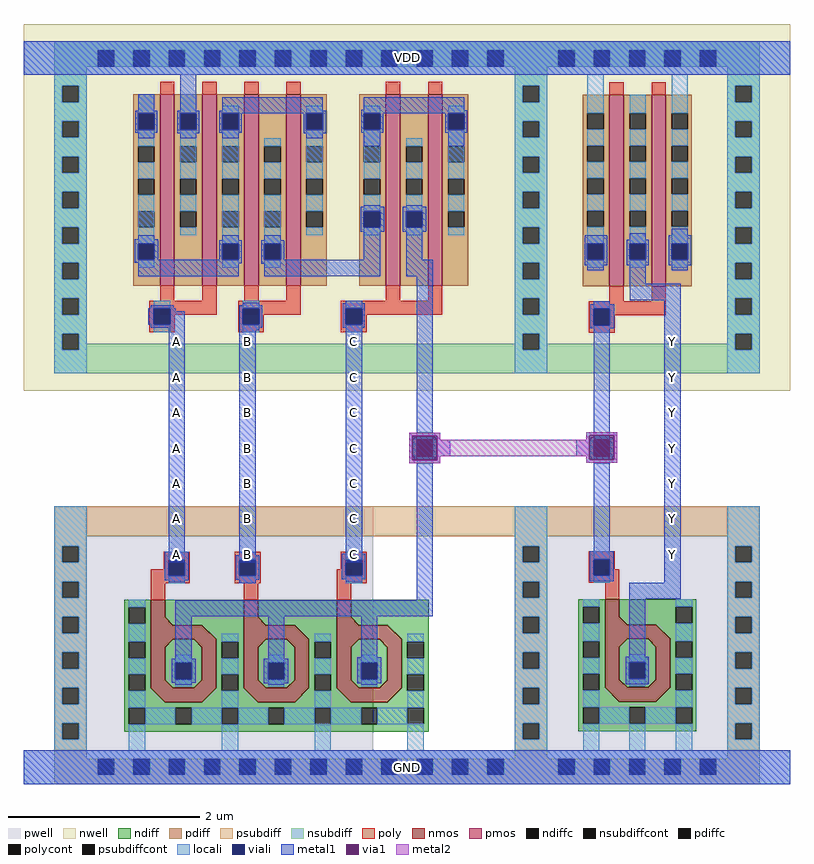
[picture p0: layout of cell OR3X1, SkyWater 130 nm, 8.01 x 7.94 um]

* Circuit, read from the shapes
.subckt OR3X1 Y A B C VDD GND
XM1 GND A n1 GND sky130_fd_pr__nfet_01v8 w=2.56 l=0.1458
XM2 GND B n1 GND sky130_fd_pr__nfet_01v8 w=2.56 l=0.1467
XM3 GND C n1 GND sky130_fd_pr__nfet_01v8 w=2.56 l=0.1466
XM4 GND n1 Y GND sky130_fd_pr__nfet_01v8 w=2.56 l=0.1515
XM5 VDD A n2 VDD sky130_fd_pr__pfet_01v8 w=2 l=0.15 m=2
XM6 n3 B n2 VDD sky130_fd_pr__pfet_01v8 w=2 l=0.15 m=2
XM7 n1 C n3 VDD sky130_fd_pr__pfet_01v8 w=2 l=0.15 m=2
XM8 Y n1 VDD VDD sky130_fd_pr__pfet_01v8 w=2 l=0.15 m=2
.ends

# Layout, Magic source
magic
tech sky130A
magscale 1 2
<< nwell >>
rect 0 822 1602 1588
<< pwell >>
rect 64 0 1538 23
<< psubdiff >>
rect 64 0 1538 23
<< nsubdiff >>
rect 64 1550 1538 1552
<< locali >>
rect 0 1482 1602 1552
rect 0 0 1602 70
<< metal1 >>
rect 0 1482 1602 1552
rect 303 907 337 941
rect 451 907 485 941
rect 673 907 707 941
rect 1339 907 1373 941
rect 303 833 337 867
rect 451 833 485 867
rect 673 833 707 867
rect 1339 833 1373 867
rect 303 759 337 793
rect 451 759 485 793
rect 673 759 707 793
rect 1339 759 1373 793
rect 303 685 337 719
rect 451 685 485 719
rect 673 685 707 719
rect 1339 685 1373 719
rect 303 611 337 645
rect 451 611 485 645
rect 673 611 707 645
rect 1339 611 1373 645
rect 303 537 337 571
rect 451 537 485 571
rect 673 537 707 571
rect 1339 537 1373 571
rect 303 463 337 497
rect 451 463 485 497
rect 673 463 707 497
rect 1339 463 1373 497
rect 0 0 1602 70
use or3x1_pcell  or3x1_pcell_0
transform 1 0 394 0 1 36
box -383 -34 1197 1550
<< labels >>
rlabel metal1 1339 463 1373 497 1 Y
port 1 nsew signal output
rlabel metal1 1339 537 1373 571 1 Y
port 1 nsew signal output
rlabel metal1 1339 611 1373 645 1 Y
port 1 nsew signal output
rlabel metal1 1339 685 1373 719 1 Y
port 1 nsew signal output
rlabel metal1 1339 759 1373 793 1 Y
port 1 nsew signal output
rlabel metal1 1339 833 1373 867 1 Y
port 1 nsew signal output
rlabel metal1 1339 907 1373 941 1 Y
port 1 nsew signal output
rlabel metal1 303 907 337 941 1 A
port 2 nsew signal input
rlabel metal1 303 833 337 867 1 A
port 2 nsew signal input
rlabel metal1 303 759 337 793 1 A
port 2 nsew signal input
rlabel metal1 303 685 337 719 1 A
port 2 nsew signal input
rlabel metal1 303 611 337 645 1 A
port 2 nsew signal input
rlabel metal1 303 537 337 571 1 A
port 2 nsew signal input
rlabel metal1 303 463 337 497 1 A
port 2 nsew signal input
rlabel metal1 451 907 485 941 1 B
port 3 nsew signal input
rlabel metal1 451 833 485 867 1 B
port 3 nsew signal input
rlabel metal1 451 759 485 793 1 B
port 3 nsew signal input
rlabel metal1 451 685 485 719 1 B
port 3 nsew signal input
rlabel metal1 451 611 485 645 1 B
port 3 nsew signal input
rlabel metal1 451 537 485 571 1 B
port 3 nsew signal input
rlabel metal1 451 463 485 497 1 B
port 3 nsew signal input
rlabel metal1 673 907 707 941 1 C
port 4 nsew signal output
rlabel metal1 673 833 707 867 1 C
port 4 nsew signal input
rlabel metal1 673 759 707 793 1 C
port 4 nsew signal input
rlabel metal1 673 685 707 719 1 C
port 4 nsew signal input
rlabel metal1 673 611 707 645 1 C
port 4 nsew signal input
rlabel metal1 673 537 707 571 1 C
port 4 nsew signal input
rlabel metal1 673 463 707 497 1 C
port 4 nsew signal input
rlabel metal1 0 1482 1602 1552 1 VDD
port 5 nsew power bidirectional abutment
rlabel metal1 0 0 1602 70 1 GND
port 6 nsew power bidirectional abutment
<< properties >>
string FIXED_BBOX 0 0 1602 1552
string LEFclass CORE
string LEFsite unitrh
string LEFsymmetry X Y
<< end >>

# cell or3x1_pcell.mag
magic
tech sky130A
magscale 1 2
<< metal1 >>
rect 412 692 476 698
rect 412 640 418 692
rect 470 640 476 692
rect 412 634 476 640
rect 782 693 846 699
rect 782 641 788 693
rect 840 641 846 693
rect 782 635 846 641
<< via1 >>
rect 418 640 470 692
rect 788 641 840 693
<< metal2 >>
rect 412 692 476 698
rect 412 640 418 692
rect 470 683 476 692
rect 782 693 846 699
rect 782 683 788 693
rect 470 649 788 683
rect 470 640 476 649
rect 412 634 476 640
rect 782 641 788 649
rect 840 641 846 693
rect 782 635 846 641
use invx1_pcell  invx1_pcell_0
transform 1 0 666 0 1 0
box -87 -34 531 1550
use li1_M1_contact  li1_M1_contact_0
transform -1 0 444 0 -1 666
box -53 -33 29 33
use li1_M1_contact  li1_M1_contact_1
transform 1 0 814 0 1 666
box -53 -33 29 33
use nor3x1_pcell  nor3x1_pcell_0
transform 1 0 -296 0 1 0
box -87 -34 1049 1550
<< end >>

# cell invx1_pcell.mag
magic
tech sky130A
magscale 1 2
<< nwell >>
rect -87 786 531 1550
<< pwell >>
rect -34 -34 478 544
<< pdiffc >>
rect 118 1059 152 1093
rect 206 1059 240 1093
rect 294 1059 328 1093
<< psubdiff >>
rect 34 482 410 544
rect 34 -17 57 17
rect 91 -17 131 17
rect 165 -17 205 17
rect 239 -17 279 17
rect 313 -17 353 17
rect 387 -17 410 17
rect 34 -34 410 -17
<< nsubdiff >>
rect 34 1497 410 1514
rect 34 1463 57 1497
rect 91 1463 131 1497
rect 165 1463 205 1497
rect 239 1463 279 1497
rect 313 1463 353 1497
rect 387 1463 410 1497
rect 34 822 410 884
<< psubdiffcont >>
rect 57 -17 91 17
rect 131 -17 165 17
rect 205 -17 239 17
rect 279 -17 313 17
rect 353 -17 387 17
<< nsubdiffcont >>
rect 57 1463 91 1497
rect 131 1463 165 1497
rect 205 1463 239 1497
rect 279 1463 313 1497
rect 353 1463 387 1497
<< poly >>
rect 155 381 185 413
<< locali >>
rect -34 1497 478 1514
rect -34 1463 57 1497
rect 91 1463 131 1497
rect 165 1463 205 1497
rect 239 1463 279 1497
rect 313 1463 353 1497
rect 387 1463 478 1497
rect -34 1446 478 1463
rect 118 1093 152 1117
rect 118 1043 152 1059
rect 206 1093 240 1117
rect 206 1043 240 1059
rect 294 1093 328 1117
rect 294 1043 328 1059
rect 109 34 143 84
rect 205 34 239 90
rect 303 34 337 90
rect -34 17 466 34
rect -34 -17 57 17
rect 91 -17 131 17
rect 165 -17 205 17
rect 239 -17 279 17
rect 313 -17 353 17
rect 387 -17 466 17
rect -34 -34 466 -17
<< viali >>
rect 57 1463 91 1497
rect 131 1463 165 1497
rect 205 1463 239 1497
rect 279 1463 313 1497
rect 353 1463 387 1497
rect 118 1059 152 1093
rect 206 1059 240 1093
rect 294 1059 328 1093
rect 131 923 165 957
rect 131 400 165 434
rect 205 184 239 218
rect 57 -17 91 17
rect 131 -17 165 17
rect 205 -17 239 17
rect 279 -17 313 17
rect 353 -17 387 17
<< metal1 >>
rect -34 1497 478 1514
rect -34 1463 57 1497
rect 91 1463 131 1497
rect 165 1463 205 1497
rect 239 1463 279 1497
rect 313 1463 353 1497
rect 387 1463 478 1497
rect -34 1446 478 1463
rect 112 1093 159 1111
rect 206 1101 240 1115
rect 294 1111 328 1124
rect 112 1059 118 1093
rect 152 1059 159 1093
rect 112 1048 159 1059
rect 200 1093 246 1101
rect 200 1059 206 1093
rect 240 1059 246 1093
rect 200 1048 246 1059
rect 288 1093 335 1111
rect 288 1059 294 1093
rect 328 1059 335 1093
rect 288 1048 335 1059
rect 118 1037 152 1048
rect 206 1009 240 1048
rect 294 1037 328 1048
rect 206 975 313 1009
rect 131 966 165 973
rect 124 957 174 966
rect 124 923 131 957
rect 165 923 174 957
rect 124 916 174 923
rect 131 450 165 916
rect 123 434 173 450
rect 123 400 131 434
rect 165 400 173 434
rect 123 388 173 400
rect 279 385 313 975
rect 205 351 313 385
rect 205 230 239 351
rect 198 218 246 230
rect 198 184 205 218
rect 239 184 246 218
rect 198 172 246 184
rect -34 17 478 34
rect -34 -17 57 17
rect 91 -17 131 17
rect 165 -17 205 17
rect 239 -17 279 17
rect 313 -17 353 17
rect 387 -17 478 17
rect -34 -34 478 -17
use diff_ring_side  diff_ring_side_0
transform 1 0 444 0 1 0
box -87 -34 87 1550
use diff_ring_side  diff_ring_side_1
transform 1 0 0 0 1 0
box -87 -34 87 1550
use nmos_top  nmos_top_0
transform -1 0 345 0 1 74
box 0 0 246 308
use pmos2  pmos2_0
transform 1 0 20 0 1 1404
box 52 -461 352 42
use poly_li1_contact  poly_li1_contact_0
transform 0 1 149 -1 0 941
box -32 -28 34 26
use poly_li1_contact  poly_li1_contact_1
transform 0 -1 147 1 0 416
box -32 -28 34 26
<< end >>

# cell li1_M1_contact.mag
magic
tech sky130A
magscale 1 2
<< locali >>
rect -17 17 17 33
rect -17 -33 17 -17
<< viali >>
rect -17 -17 17 17
<< metal1 >>
rect -23 17 23 23
rect -53 -17 -17 17
rect 17 -17 29 17
rect -23 -23 23 -17
<< end >>

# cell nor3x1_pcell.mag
magic
tech sky130A
magscale 1 2
<< nwell >>
rect 87 786 953 1550
<< pwell >>
rect 34 34 632 544
rect 34 -34 928 34
<< pdiffc >>
rect 141 1331 175 1365
rect 229 1331 263 1365
rect 317 1331 351 1365
rect 493 1331 527 1365
rect 613 1331 647 1365
rect 789 1331 823 1365
rect 141 1059 175 1093
rect 317 1059 351 1093
rect 405 1059 439 1093
<< psubdiff >>
rect 34 482 928 544
rect 34 -17 57 17
rect 91 -17 131 17
rect 165 -17 205 17
rect 239 -17 279 17
rect 313 -17 353 17
rect 387 -17 427 17
rect 461 -17 501 17
rect 535 -17 575 17
rect 609 -17 649 17
rect 683 -17 723 17
rect 757 -17 797 17
rect 831 -17 871 17
rect 905 -17 928 17
rect 34 -34 928 -17
<< nsubdiff >>
rect 34 1497 928 1514
rect 34 1463 57 1497
rect 91 1463 131 1497
rect 165 1463 205 1497
rect 239 1463 279 1497
rect 313 1463 353 1497
rect 387 1463 427 1497
rect 461 1463 501 1497
rect 535 1463 575 1497
rect 609 1463 649 1497
rect 683 1463 723 1497
rect 757 1463 797 1497
rect 831 1463 871 1497
rect 905 1463 928 1497
rect 34 822 928 884
<< psubdiffcont >>
rect 57 -17 91 17
rect 131 -17 165 17
rect 205 -17 239 17
rect 279 -17 313 17
rect 353 -17 387 17
rect 427 -17 461 17
rect 501 -17 535 17
rect 575 -17 609 17
rect 649 -17 683 17
rect 723 -17 757 17
rect 797 -17 831 17
rect 871 -17 905 17
<< nsubdiffcont >>
rect 57 1463 91 1497
rect 131 1463 165 1497
rect 205 1463 239 1497
rect 279 1463 313 1497
rect 353 1463 387 1497
rect 427 1463 461 1497
rect 501 1463 535 1497
rect 575 1463 609 1497
rect 649 1463 683 1497
rect 723 1463 757 1497
rect 797 1463 831 1497
rect 871 1463 905 1497
<< poly >>
rect 619 944 659 974
rect 168 375 198 413
rect 362 382 392 383
rect 556 382 586 413
<< locali >>
rect -24 1497 939 1514
rect -24 1463 57 1497
rect 91 1463 131 1497
rect 165 1463 205 1497
rect 239 1463 279 1497
rect 313 1463 353 1497
rect 387 1463 427 1497
rect 461 1463 501 1497
rect 535 1463 575 1497
rect 609 1463 649 1497
rect 683 1463 723 1497
rect 757 1463 797 1497
rect 831 1463 871 1497
rect 905 1463 939 1497
rect -24 1446 939 1463
rect 141 1365 175 1405
rect 141 1305 175 1331
rect 229 1365 263 1405
rect 229 1229 263 1331
rect 317 1365 351 1381
rect 317 1229 351 1331
rect 493 1365 527 1381
rect 493 1229 527 1331
rect 613 1365 647 1381
rect 613 1229 647 1331
rect 789 1365 823 1381
rect 789 1229 823 1331
rect 141 1093 175 1195
rect 141 1043 175 1059
rect 317 1093 351 1195
rect 317 1043 351 1059
rect 405 1093 439 1195
rect 405 1043 439 1059
rect 122 34 156 89
rect 316 34 350 89
rect 510 34 544 90
rect 704 34 738 90
rect -34 17 931 34
rect -34 -17 57 17
rect 91 -17 131 17
rect 165 -17 205 17
rect 239 -17 279 17
rect 313 -17 353 17
rect 387 -17 427 17
rect 461 -17 501 17
rect 535 -17 575 17
rect 609 -17 649 17
rect 683 -17 723 17
rect 757 -17 797 17
rect 831 -17 871 17
rect 905 -17 931 17
rect -34 -34 931 -17
<< viali >>
rect 57 1463 91 1497
rect 131 1463 165 1497
rect 205 1463 239 1497
rect 279 1463 313 1497
rect 353 1463 387 1497
rect 427 1463 461 1497
rect 501 1463 535 1497
rect 575 1463 609 1497
rect 649 1463 683 1497
rect 723 1463 757 1497
rect 797 1463 831 1497
rect 871 1463 905 1497
rect 141 1331 175 1365
rect 229 1331 263 1365
rect 317 1331 351 1365
rect 493 1331 527 1365
rect 613 1331 647 1365
rect 789 1331 823 1365
rect 141 1059 175 1093
rect 317 1059 351 1093
rect 613 1127 647 1161
rect 701 1127 735 1161
rect 405 1059 439 1093
rect 174 924 208 958
rect 360 924 394 958
rect 575 924 609 958
rect 205 399 239 433
rect 353 399 387 433
rect 575 399 609 433
rect 219 183 253 217
rect 413 183 447 217
rect 607 183 641 217
rect 57 -17 91 17
rect 131 -17 165 17
rect 205 -17 239 17
rect 279 -17 313 17
rect 353 -17 387 17
rect 427 -17 461 17
rect 501 -17 535 17
rect 575 -17 609 17
rect 649 -17 683 17
rect 723 -17 757 17
rect 797 -17 831 17
rect 871 -17 905 17
<< metal1 >>
rect 34 1497 928 1514
rect 34 1463 57 1497
rect 91 1463 131 1497
rect 165 1463 205 1497
rect 239 1463 279 1497
rect 313 1463 353 1497
rect 387 1463 427 1497
rect 461 1463 501 1497
rect 535 1463 575 1497
rect 609 1463 649 1497
rect 683 1463 723 1497
rect 757 1463 797 1497
rect 831 1463 871 1497
rect 905 1463 928 1497
rect 34 1446 928 1463
rect 141 1371 175 1405
rect 229 1371 263 1446
rect 317 1371 527 1399
rect 613 1373 823 1399
rect 607 1372 823 1373
rect 135 1365 181 1371
rect 135 1331 141 1365
rect 175 1331 181 1365
rect 135 1325 181 1331
rect 223 1365 269 1371
rect 223 1331 229 1365
rect 263 1331 269 1365
rect 141 1313 175 1325
rect 223 1324 269 1331
rect 311 1365 534 1371
rect 311 1331 317 1365
rect 351 1331 358 1365
rect 311 1325 358 1331
rect 487 1331 493 1365
rect 527 1331 534 1365
rect 229 1313 263 1324
rect 317 1313 351 1325
rect 487 1324 534 1331
rect 607 1365 829 1372
rect 607 1331 613 1365
rect 647 1331 653 1365
rect 607 1325 653 1331
rect 783 1331 789 1365
rect 823 1331 829 1365
rect 783 1325 829 1331
rect 493 1313 527 1324
rect 613 1297 647 1325
rect 789 1297 823 1325
rect 613 1170 647 1173
rect 701 1170 735 1173
rect 606 1161 655 1170
rect 606 1127 613 1161
rect 647 1127 655 1161
rect 606 1118 655 1127
rect 694 1161 743 1170
rect 694 1127 701 1161
rect 735 1127 743 1161
rect 694 1118 743 1127
rect 141 1102 175 1111
rect 134 1093 183 1102
rect 317 1100 351 1111
rect 405 1100 439 1111
rect 134 1059 141 1093
rect 175 1059 183 1093
rect 311 1093 358 1100
rect 311 1059 317 1093
rect 351 1059 358 1093
rect 134 1053 358 1059
rect 141 1052 358 1053
rect 398 1093 446 1100
rect 398 1059 405 1093
rect 439 1059 446 1093
rect 613 1059 647 1118
rect 141 1025 351 1052
rect 398 1051 647 1059
rect 405 1025 647 1051
rect 701 1059 735 1118
rect 701 1025 757 1059
rect 360 964 394 970
rect 575 969 609 974
rect 168 958 216 964
rect 353 958 401 964
rect 162 924 174 958
rect 208 952 220 958
rect 208 924 239 952
rect 168 917 239 924
rect 205 449 239 917
rect 353 924 360 958
rect 394 924 401 958
rect 353 917 401 924
rect 569 958 615 969
rect 569 924 575 958
rect 609 924 615 958
rect 569 917 615 924
rect 353 912 394 917
rect 197 433 247 449
rect 353 442 387 912
rect 575 445 609 917
rect 197 399 205 433
rect 239 399 247 433
rect 197 390 247 399
rect 345 433 394 442
rect 345 399 353 433
rect 387 399 394 433
rect 345 391 394 399
rect 567 433 616 445
rect 567 399 575 433
rect 609 399 616 433
rect 567 392 616 399
rect 205 387 239 390
rect 353 383 387 391
rect 575 387 609 392
rect 723 348 757 1025
rect 219 314 757 348
rect 219 226 253 314
rect 413 226 447 314
rect 607 229 641 314
rect 211 217 262 226
rect 211 183 219 217
rect 253 183 262 217
rect 211 176 262 183
rect 404 217 455 226
rect 404 183 413 217
rect 447 183 455 217
rect 219 171 253 176
rect 404 174 455 183
rect 599 217 649 229
rect 599 183 607 217
rect 641 183 649 217
rect 599 174 649 183
rect 413 171 447 174
rect 607 171 641 174
rect 34 17 928 34
rect 34 -17 57 17
rect 91 -17 131 17
rect 165 -17 205 17
rect 239 -17 279 17
rect 313 -17 353 17
rect 387 -17 427 17
rect 461 -17 501 17
rect 535 -17 575 17
rect 609 -17 649 17
rect 683 -17 723 17
rect 757 -17 797 17
rect 831 -17 871 17
rect 905 -17 928 17
rect 34 -34 928 -17
use diff_ring_side  diff_ring_side_0
transform 1 0 962 0 1 0
box -87 -34 87 1550
use diff_ring_side  diff_ring_side_1
transform 1 0 0 0 1 0
box -87 -34 87 1550
use nmos_top_trim1  nmos_top_trim1_1
transform -1 0 360 0 1 73
box 0 0 248 309
use nmos_top_trim2  nmos_top_trim2_0
transform -1 0 554 0 1 73
box 0 0 248 309
use nmos_top_trim2  nmos_top_trim2_1
transform -1 0 748 0 1 73
box 0 0 248 309
use pmos2_1  pmos2_1_0
transform 1 0 43 0 1 1404
box 52 -460 352 37
use pmos2_1  pmos2_1_1
transform 1 0 219 0 1 1404
box 52 -460 352 37
use pmos2_1  pmos2_1_2
transform 1 0 515 0 1 1404
box 52 -460 352 37
use poly_li1_contact  poly_li1_contact_0
transform 0 1 192 -1 0 942
box -32 -28 34 26
use poly_li1_contact  poly_li1_contact_1
transform 0 1 223 -1 0 417
box -32 -28 34 26
use poly_li1_contact  poly_li1_contact_2
transform 0 -1 369 1 0 415
box -32 -28 34 26
use poly_li1_contact  poly_li1_contact_3
transform 0 1 378 -1 0 942
box -32 -28 34 26
use poly_li1_contact  poly_li1_contact_4
transform 0 -1 591 1 0 415
box -32 -28 34 26
use poly_li1_contact  poly_li1_contact_5
transform 0 1 593 -1 0 942
box -32 -28 34 26
<< end >>

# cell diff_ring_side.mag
magic
tech sky130A
magscale 1 2
<< nwell >>
rect -87 786 87 1550
<< pwell >>
rect -34 -34 34 544
<< psubdiff >>
rect -34 461 34 544
rect -34 427 -17 461
rect 17 427 34 461
rect -34 387 34 427
rect -34 353 -17 387
rect 17 353 34 387
rect -34 313 34 353
rect -34 279 -17 313
rect 17 279 34 313
rect -34 239 34 279
rect -34 205 -17 239
rect 17 205 34 239
rect -34 165 34 205
rect -34 131 -17 165
rect 17 131 34 165
rect -34 91 34 131
rect -34 57 -17 91
rect 17 57 34 91
rect -34 -34 34 57
<< nsubdiff >>
rect -34 1423 34 1514
rect -34 1389 -17 1423
rect 17 1389 34 1423
rect -34 1349 34 1389
rect -34 1315 -17 1349
rect 17 1315 34 1349
rect -34 1275 34 1315
rect -34 1241 -17 1275
rect 17 1241 34 1275
rect -34 1201 34 1241
rect -34 1167 -17 1201
rect 17 1167 34 1201
rect -34 1127 34 1167
rect -34 1093 -17 1127
rect 17 1093 34 1127
rect -34 1053 34 1093
rect -34 1019 -17 1053
rect 17 1019 34 1053
rect -34 979 34 1019
rect -34 945 -17 979
rect 17 945 34 979
rect -34 905 34 945
rect -34 871 -17 905
rect 17 871 34 905
rect -34 822 34 871
<< psubdiffcont >>
rect -17 427 17 461
rect -17 353 17 387
rect -17 279 17 313
rect -17 205 17 239
rect -17 131 17 165
rect -17 57 17 91
<< nsubdiffcont >>
rect -17 1389 17 1423
rect -17 1315 17 1349
rect -17 1241 17 1275
rect -17 1167 17 1201
rect -17 1093 17 1127
rect -17 1019 17 1053
rect -17 945 17 979
rect -17 871 17 905
<< locali >>
rect -34 1423 34 1514
rect -34 1389 -17 1423
rect 17 1389 34 1423
rect -34 1349 34 1389
rect -34 1315 -17 1349
rect 17 1315 34 1349
rect -34 1275 34 1315
rect -34 1241 -17 1275
rect 17 1241 34 1275
rect -34 1201 34 1241
rect -34 1167 -17 1201
rect 17 1167 34 1201
rect -34 1127 34 1167
rect -34 1093 -17 1127
rect 17 1093 34 1127
rect -34 1053 34 1093
rect -34 1019 -17 1053
rect 17 1019 34 1053
rect -34 979 34 1019
rect -34 945 -17 979
rect 17 945 34 979
rect -34 905 34 945
rect -34 871 -17 905
rect 17 871 34 905
rect -34 822 34 871
rect -34 461 34 544
rect -34 427 -17 461
rect 17 427 34 461
rect -34 387 34 427
rect -34 353 -17 387
rect 17 353 34 387
rect -34 313 34 353
rect -34 279 -17 313
rect 17 279 34 313
rect -34 239 34 279
rect -34 205 -17 239
rect 17 205 34 239
rect -34 165 34 205
rect -34 131 -17 165
rect 17 131 34 165
rect -34 91 34 131
rect -34 57 -17 91
rect 17 57 34 91
rect -34 -34 34 57
<< metal1 >>
rect -34 1446 34 1514
rect -34 -34 34 34
<< end >>

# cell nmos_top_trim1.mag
magic
tech sky130
magscale 1 2
<< nmos >>
tri 146 223 162 239 se
rect 162 223 192 276
tri 56 193 86 223 se
rect 86 193 192 223
rect 56 92 86 193
tri 86 177 102 193 nw
tri 146 177 162 193 ne
tri 86 92 102 108 sw
tri 146 92 162 108 se
rect 162 92 192 193
tri 56 62 86 92 ne
rect 86 62 162 92
tri 162 62 192 92 nw
<< ndiff >>
rect 0 239 162 276
rect 0 223 146 239
tri 146 223 162 239 nw
rect 192 260 248 276
rect 192 226 204 260
rect 238 226 248 260
rect 0 188 56 223
tri 56 193 86 223 nw
rect 0 154 10 188
rect 44 154 56 188
rect 0 120 56 154
rect 0 86 10 120
rect 44 86 56 120
tri 86 177 102 193 se
rect 102 177 146 193
tri 146 177 162 193 sw
rect 86 144 162 177
rect 86 110 107 144
rect 141 110 162 144
rect 86 108 162 110
tri 86 92 102 108 ne
rect 102 92 146 108
tri 146 92 162 108 nw
rect 192 188 248 226
rect 192 154 204 188
rect 238 154 248 188
rect 192 120 248 154
rect 0 62 56 86
tri 56 62 86 92 sw
tri 162 62 192 92 se
rect 192 86 204 120
rect 238 86 248 120
rect 192 62 248 86
rect 0 50 248 62
rect 0 16 10 50
rect 44 16 107 50
rect 141 16 204 50
rect 238 16 248 50
rect 0 0 248 16
<< ndiffc >>
rect 204 226 238 260
rect 10 154 44 188
rect 10 86 44 120
rect 107 110 141 144
rect 204 154 238 188
rect 204 86 238 120
rect 10 16 44 50
rect 107 16 141 50
rect 204 16 238 50
<< poly >>
rect 162 276 192 309
<< locali >>
rect 204 260 238 276
rect 10 188 44 204
rect 204 188 238 226
rect 10 120 44 154
rect 107 144 141 161
rect 107 94 141 110
rect 204 120 238 154
rect 10 50 44 86
rect 204 50 238 86
rect 44 16 107 50
rect 141 16 204 50
rect 10 0 44 16
rect 204 0 238 16
<< end >>

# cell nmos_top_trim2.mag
magic
tech sky130
magscale 1 2
<< nmos >>
tri 146 223 162 239 se
rect 162 223 192 276
tri 56 193 86 223 se
rect 86 193 192 223
rect 56 178 87 193
tri 87 178 102 193 nw
tri 146 178 161 193 ne
rect 161 178 192 193
rect 56 92 86 178
tri 86 92 102 108 sw
tri 146 92 162 108 se
rect 162 92 192 178
tri 56 62 86 92 ne
rect 86 62 162 92
tri 162 62 192 92 nw
<< ndiff >>
rect 0 239 162 276
rect 0 223 146 239
tri 146 223 162 239 nw
rect 0 188 56 223
tri 56 193 86 223 nw
rect 0 154 10 188
rect 44 154 56 188
tri 87 178 102 193 se
rect 102 178 146 193
tri 146 178 161 193 sw
rect 192 188 248 276
rect 0 120 56 154
rect 0 86 10 120
rect 44 86 56 120
rect 86 144 162 178
rect 86 110 107 144
rect 141 110 162 144
rect 86 108 162 110
tri 86 92 102 108 ne
rect 102 92 146 108
tri 146 92 162 108 nw
rect 192 154 204 188
rect 238 154 248 188
rect 192 120 248 154
rect 0 62 56 86
tri 56 62 86 92 sw
tri 162 62 192 92 se
rect 192 86 204 120
rect 238 86 248 120
rect 192 62 248 86
rect 0 50 248 62
rect 0 16 10 50
rect 44 16 107 50
rect 141 16 204 50
rect 238 16 248 50
rect 0 0 248 16
<< ndiffc >>
rect 10 154 44 188
rect 10 86 44 120
rect 107 110 141 144
rect 204 154 238 188
rect 204 86 238 120
rect 10 16 44 50
rect 107 16 141 50
rect 204 16 238 50
<< poly >>
rect 162 276 192 309
<< locali >>
rect 10 188 44 205
rect 204 188 238 205
rect 10 120 44 154
rect 107 144 141 161
rect 107 94 141 110
rect 204 120 238 154
rect 10 50 44 86
rect 204 50 238 86
rect 44 16 107 50
rect 141 16 204 50
rect 10 0 44 16
rect 204 0 238 16
<< end >>

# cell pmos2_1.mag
magic
tech sky130A
magscale 1 2
<< nwell >>
rect 52 -435 352 37
<< pmos >>
rect 144 -399 174 1
rect 232 -399 262 1
<< pdiff >>
rect 88 -107 144 1
rect 88 -141 98 -107
rect 132 -141 144 -107
rect 88 -175 144 -141
rect 88 -209 98 -175
rect 132 -209 144 -175
rect 88 -243 144 -209
rect 88 -277 98 -243
rect 132 -277 144 -243
rect 88 -399 144 -277
rect 174 -107 232 1
rect 174 -141 186 -107
rect 220 -141 232 -107
rect 174 -175 232 -141
rect 174 -209 186 -175
rect 220 -209 232 -175
rect 174 -243 232 -209
rect 174 -277 186 -243
rect 220 -277 232 -243
rect 174 -399 232 -277
rect 262 -107 316 1
rect 262 -141 274 -107
rect 308 -141 316 -107
rect 262 -175 316 -141
rect 262 -209 274 -175
rect 308 -209 316 -175
rect 262 -243 316 -209
rect 262 -277 274 -243
rect 308 -277 316 -243
rect 262 -399 316 -277
<< pdiffc >>
rect 98 -141 132 -107
rect 98 -209 132 -175
rect 98 -277 132 -243
rect 186 -141 220 -107
rect 186 -209 220 -175
rect 186 -277 220 -243
rect 274 -141 308 -107
rect 274 -209 308 -175
rect 274 -277 308 -243
<< poly >>
rect 144 1 174 27
rect 232 1 262 27
rect 144 -430 174 -399
rect 232 -430 262 -399
rect 144 -460 262 -430
<< locali >>
rect 98 -107 132 -91
rect 98 -175 132 -141
rect 98 -243 132 -209
rect 98 -293 132 -277
rect 186 -107 220 -91
rect 186 -175 220 -141
rect 186 -243 220 -209
rect 186 -293 220 -277
rect 274 -107 308 -91
rect 274 -175 308 -141
rect 274 -243 308 -209
rect 274 -293 308 -277
<< end >>

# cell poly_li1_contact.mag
magic
tech sky130
<< poly >>
rect -16 8 17 13
rect -16 -9 -8 8
rect 9 -9 17 8
rect -16 -14 17 -9
<< polycont >>
rect -8 -9 9 8
<< locali >>
rect -16 -9 -8 8
rect 9 -9 17 8
<< end >>

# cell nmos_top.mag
magic
tech sky130
magscale 1 2
<< nmos >>
tri 144 223 160 239 se
rect 160 223 190 276
tri 54 193 84 223 se
rect 84 193 190 223
rect 54 92 84 193
tri 84 177 100 193 nw
tri 144 177 160 193 ne
tri 84 92 100 108 sw
tri 144 92 160 108 se
rect 160 92 190 193
tri 54 62 84 92 ne
rect 84 62 160 92
tri 160 62 190 92 nw
<< ndiff >>
rect 0 260 160 276
rect 0 226 8 260
rect 42 239 160 260
rect 42 226 144 239
rect 0 223 144 226
tri 144 223 160 239 nw
rect 190 260 246 276
rect 190 226 202 260
rect 236 226 246 260
rect 0 188 54 223
tri 54 193 84 223 nw
rect 0 154 8 188
rect 42 154 54 188
rect 0 120 54 154
rect 0 86 8 120
rect 42 86 54 120
tri 84 177 100 193 se
rect 100 177 144 193
tri 144 177 160 193 sw
rect 84 144 160 177
rect 84 110 106 144
rect 140 110 160 144
rect 84 108 160 110
tri 84 92 100 108 ne
rect 100 92 144 108
tri 144 92 160 108 nw
rect 190 188 246 226
rect 190 154 202 188
rect 236 154 246 188
rect 190 120 246 154
rect 0 62 54 86
tri 54 62 84 92 sw
tri 160 62 190 92 se
rect 190 86 202 120
rect 236 86 246 120
rect 190 62 246 86
rect 0 50 246 62
rect 0 16 8 50
rect 42 16 106 50
rect 140 16 202 50
rect 236 16 246 50
rect 0 0 246 16
<< ndiffc >>
rect 8 226 42 260
rect 202 226 236 260
rect 8 154 42 188
rect 8 86 42 120
rect 106 110 140 144
rect 202 154 236 188
rect 202 86 236 120
rect 8 16 42 50
rect 106 16 140 50
rect 202 16 236 50
<< poly >>
rect 160 276 190 308
<< locali >>
rect 8 260 42 276
rect 8 188 42 226
rect 202 260 236 276
rect 202 188 236 226
rect 8 120 42 154
rect 106 144 140 161
rect 106 94 140 110
rect 202 120 236 154
rect 8 50 42 86
rect 202 50 236 86
rect 42 16 106 50
rect 140 16 202 50
rect 8 0 42 16
rect 202 0 236 16
<< end >>

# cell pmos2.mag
magic
tech sky130A
magscale 1 2
<< nwell >>
rect 52 -436 352 36
<< pmos >>
rect 144 -400 174 0
rect 232 -400 262 0
<< pdiff >>
rect 88 -38 144 0
rect 88 -72 98 -38
rect 132 -72 144 -38
rect 88 -106 144 -72
rect 88 -140 98 -106
rect 132 -140 144 -106
rect 88 -174 144 -140
rect 88 -208 98 -174
rect 132 -208 144 -174
rect 88 -242 144 -208
rect 88 -276 98 -242
rect 132 -276 144 -242
rect 88 -400 144 -276
rect 174 -38 232 0
rect 174 -72 186 -38
rect 220 -72 232 -38
rect 174 -106 232 -72
rect 174 -140 186 -106
rect 220 -140 232 -106
rect 174 -174 232 -140
rect 174 -208 186 -174
rect 220 -208 232 -174
rect 174 -242 232 -208
rect 174 -276 186 -242
rect 220 -276 232 -242
rect 174 -400 232 -276
rect 262 -38 316 0
rect 262 -72 274 -38
rect 308 -72 316 -38
rect 262 -106 316 -72
rect 262 -140 274 -106
rect 308 -140 316 -106
rect 262 -174 316 -140
rect 262 -208 274 -174
rect 308 -208 316 -174
rect 262 -242 316 -208
rect 262 -276 274 -242
rect 308 -276 316 -242
rect 262 -400 316 -276
<< pdiffc >>
rect 98 -72 132 -38
rect 98 -140 132 -106
rect 98 -208 132 -174
rect 98 -276 132 -242
rect 186 -72 220 -38
rect 186 -140 220 -106
rect 186 -208 220 -174
rect 186 -276 220 -242
rect 274 -72 308 -38
rect 274 -140 308 -106
rect 274 -208 308 -174
rect 274 -276 308 -242
<< poly >>
rect 144 0 174 26
rect 232 0 262 26
rect 144 -431 174 -400
rect 232 -431 262 -400
rect 144 -461 262 -431
<< locali >>
rect 98 -38 132 42
rect 98 -106 132 -72
rect 98 -174 132 -140
rect 98 -242 132 -208
rect 98 -293 132 -276
rect 186 -38 220 0
rect 186 -106 220 -72
rect 186 -174 220 -140
rect 186 -242 220 -208
rect 186 -293 220 -276
rect 274 -38 308 42
rect 274 -106 308 -72
rect 274 -174 308 -140
rect 274 -242 308 -208
rect 274 -293 308 -276
<< end >>
